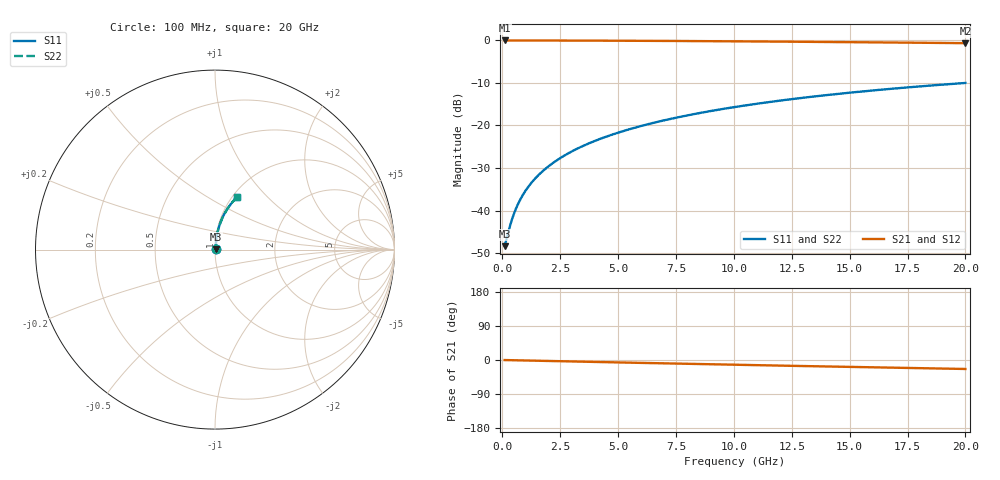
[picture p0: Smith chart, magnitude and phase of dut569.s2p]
! Touchstone file exported from HFSS 2024.1.0
!  File:  C:/UserFiles/LocalFiles/RDL_TSV_Batchsim/temp_RDL_top_569_1779681669.aedt
!  Generated:  12:03:25 PM May 25, 2026
!  Design:  RDL_top
!  Project:  temp_RDL_top_569_1779681669
!  Setup:  Setup1
!  Solution:  Sweep
! Variables:
!  dtsv = 10.80580581um
!  hbump = 3um
!  htsv = 82.66um
!  ldown = 100um
!  lrdl = 243.59um
!  p = 40
!  p1 = 49.43um
!  rhole = 1um
!  t = 450um
!  tdown = 3.915915916um
!  trdl = 2.53um
!  wdown = 15.38538539um
!  wrdl = 10.5um
# GHz S MA R 50.000000
! Terminal data exported
! Port[1] = Box2_T1
! Port[2] = Box2_T2
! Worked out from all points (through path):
!   200 points, 100 MHz to 20 GHz, reference 50 ohm
!   highest |S21| = -0.03 dB at 100 MHz (marker M1); lowest = -0.7 dB at 20 GHz (marker M2)
!   group delay of S21, straight-line fit = 3.29 ps
!   lowest |S11| = -48.4 dB at 100 MHz (marker M3), VSWR 1.01, Z = 50.3 + j0.17 ohm
!   |S11| at or under -10 dB: start of sweep to end of sweep
!   |S22| runs from -48.4 to -10.0 dB; largest |S21 - S12| = 3.1e-15
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0.1  0.003818 26.3  0.9966 -0.1  0.9966 -0.1  0.003818 26.3
! Gamma 0 0 0 0
! Port Impedance 50 0 50 0
0.3  0.006143 55.4  0.9965 -0.4  0.9965 -0.4  0.006143 55.4
0.4  0.007602 62.2  0.9965 -0.5  0.9965 -0.5  0.007602 62.2
0.5  0.009129 66.7  0.9964 -0.7  0.9964 -0.7  0.009129 66.7
0.6  0.01069 69.9  0.9963 -0.8  0.9963 -0.8  0.01069 69.9
0.7  0.01227 72.2  0.9963 -0.9  0.9963 -0.9  0.01227 72.2
0.9  0.01546 75.4  0.9961 -1.2  0.9961 -1.2  0.01546 75.4
1.2  0.02028 78.1  0.9959 -1.6  0.9959 -1.6  0.02028 78.1
1.4  0.0235 79.3  0.9957 -1.8  0.9957 -1.8  0.0235 79.3
1.7  0.02835 80.5  0.9954 -2.2  0.9954 -2.2  0.02835 80.5
2.2  0.03646 81.7  0.9948 -2.8  0.9948 -2.8  0.03646 81.7
2.8  0.04623 82.3  0.994 -3.6  0.994 -3.6  0.04623 82.3
3.5  0.05766 82.6  0.9929 -4.5  0.9929 -4.5  0.05766 82.6
4.2  0.06913 82.5  0.9915 -5.4  0.9915 -5.4  0.06913 82.5
5  0.08224 82.2  0.9898 -6.4  0.9898 -6.4  0.08224 82.2
5.9  0.09702 81.6  0.9875 -7.5  0.9875 -7.5  0.09702 81.6
6.8  0.1118 80.9  0.9849 -8.6  0.9849 -8.6  0.1118 80.9
8.3  0.1363 79.6  0.98 -10.4  0.98 -10.4  0.1363 79.6
10.1  0.1655 77.9  0.9734 -12.6  0.9734 -12.6  0.1656 77.9
13.4  0.2179 74.4  0.9595 -16.4  0.9595 -16.4  0.2179 74.4
16.7  0.2681 70.9  0.9436 -20.1  0.9436 -20.1  0.2681 70.9
20  0.3157 67.4  0.9263 -23.7  0.9263 -23.7  0.3157 67.4
